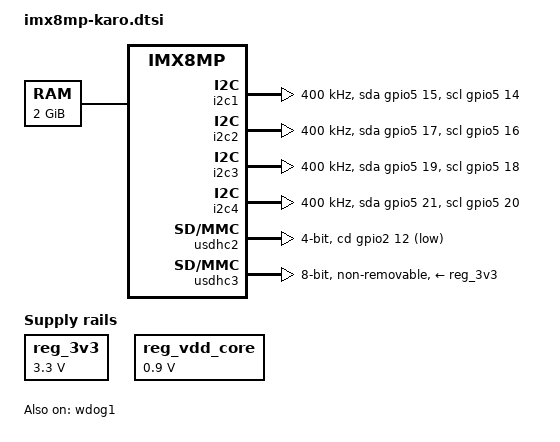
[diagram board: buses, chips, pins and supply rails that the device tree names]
// SPDX-License-Identifier: (GPL-2.0 OR MIT)
/*
 * Copyright (C) 2021 Lothar Waßmann <LW@KARO-electronics.de>
 *
 */

#include "imx8mp.dtsi"

/ {
	aliases {
		ethernet0 = &eqos;
		/delete-property/ ethernet1;
		i2c0 = &i2c1;
		i2c1 = &i2c2;
		i2c2 = &i2c3;
		mmc0 = &usdhc3;
		mmc1 = &usdhc2;
		/delete-property/ mmc2;
		usb-host = &usb_dwc3_1;
		usbotg = &usb_dwc3_0;
	};

	chosen {
		stdout-path = "serial0:115200n8";
	};

	memory@40000000 {
		device_type = "memory";
		reg = <0x0 0x40000000 0 0x40000000>,
		      <0x1 0x00000000 0 0x40000000>;
	};

	reg_3v3: regulator-3v3 {
		compatible = "regulator-fixed";
		regulator-name = "3v3";
		regulator-min-microvolt = <3300000>;
		regulator-max-microvolt = <3300000>;
		regulator-always-on;
	};

	reg_vdd_core: regulator-vdd-core {
		compatible = "regulator-fixed";
		regulator-name = "vdd-core";
		regulator-min-microvolt = <900000>;
		regulator-max-microvolt = <900000>;
		regulator-always-on;
	};
};

&i2c1 {
	pinctrl-names = "default", "gpio";
	pinctrl-0 = <&pinctrl_i2c1>;
	pinctrl-1 = <&pinctrl_i2c1_gpio>;
	scl-gpios = <&gpio5 14 GPIO_ACTIVE_HIGH>;
	sda-gpios = <&gpio5 15 GPIO_ACTIVE_HIGH>;
	clock-frequency = <400000>;
	status = "okay";
};

&i2c2 {
	pinctrl-names = "default", "gpio";
	pinctrl-0 = <&pinctrl_i2c2>;
	pinctrl-1 = <&pinctrl_i2c2_gpio>;
	scl-gpios = <&gpio5 16 GPIO_ACTIVE_HIGH>;
	sda-gpios = <&gpio5 17 GPIO_ACTIVE_HIGH>;
	clock-frequency = <400000>;
	status = "okay";
};

&i2c3 {
	pinctrl-names = "default", "gpio";
	pinctrl-0 = <&pinctrl_i2c3>;
	pinctrl-1 = <&pinctrl_i2c3_gpio>;
	scl-gpios = <&gpio5 18 GPIO_ACTIVE_HIGH>;
	sda-gpios = <&gpio5 19 GPIO_ACTIVE_HIGH>;
	clock-frequency = <400000>;
	status = "okay";
};

&i2c4 {
	pinctrl-names = "default", "gpio";
	pinctrl-0 = <&pinctrl_i2c4>;
	pinctrl-1 = <&pinctrl_i2c4_gpio>;
	scl-gpios = <&gpio5 20 GPIO_ACTIVE_HIGH>;
	sda-gpios = <&gpio5 21 GPIO_ACTIVE_HIGH>;
	clock-frequency = <400000>;
	status = "okay";
};

&usdhc2 {
	pinctrl-names = "default", "state_100mhz", "state_200mhz";
	pinctrl-0 = <&pinctrl_usdhc2 &pinctrl_usdhc2_cd>;
	pinctrl-1 = <&pinctrl_usdhc2_100mhz &pinctrl_usdhc2_cd>;
	pinctrl-2 = <&pinctrl_usdhc2_200mhz &pinctrl_usdhc2_cd>;
	bus-width = <4>;
	cd-gpios = <&gpio2 12 GPIO_ACTIVE_LOW>;
	no-1-8-v;
	fsl,wp-controller;
	status = "okay";
};

&usdhc3 { /* eMMC */
	pinctrl-names = "default";
	pinctrl-0 = <&pinctrl_usdhc3>;
	bus-width = <8>;
	vmmc-supply = <&reg_3v3>;
	non-removable;
	status = "okay";
};

&wdog1 {
	pinctrl-names = "default";
	pinctrl-0 = <&pinctrl_wdog>;
	fsl,ext-reset-output;
	status = "okay";
};

&iomuxc {
	pinctrl_i2c1: i2c1grp {
		fsl,pins = <
			MX8MP_IOMUXC_I2C1_SCL__I2C1_SCL			0x400001c2
			MX8MP_IOMUXC_I2C1_SDA__I2C1_SDA			0x400001c2
		>;
	};

	pinctrl_i2c1_gpio: i2c1-gpiogrp {
		fsl,pins = <
			MX8MP_IOMUXC_I2C1_SCL__GPIO5_IO14		0x400001c2
			MX8MP_IOMUXC_I2C1_SDA__GPIO5_IO15		0x400001c2
		>;
	};

	pinctrl_i2c2: i2c2grp {
		fsl,pins = <
			MX8MP_IOMUXC_I2C2_SCL__I2C2_SCL			0x400001c2
			MX8MP_IOMUXC_I2C2_SDA__I2C2_SDA			0x400001c2
		>;
	};

	pinctrl_i2c2_gpio: i2c2-gpiogrp {
		fsl,pins = <
			MX8MP_IOMUXC_I2C2_SCL__GPIO5_IO16		0x400001c2
			MX8MP_IOMUXC_I2C2_SDA__GPIO5_IO17		0x400001c2
		>;
	};

	pinctrl_i2c3: i2c3grp {
		fsl,pins = <
			MX8MP_IOMUXC_I2C3_SCL__I2C3_SCL			0x400001c2
			MX8MP_IOMUXC_I2C3_SDA__I2C3_SDA			0x400001c2
		>;
	};

	pinctrl_i2c3_gpio: i2c3-gpiogrp {
		fsl,pins = <
			MX8MP_IOMUXC_I2C3_SCL__GPIO5_IO18		0x400001c2
			MX8MP_IOMUXC_I2C3_SDA__GPIO5_IO19		0x400001c2
		>;
	};

	pinctrl_i2c4: i2c4grp {
		fsl,pins = <
			MX8MP_IOMUXC_I2C4_SCL__I2C4_SCL			0x400001c2
			MX8MP_IOMUXC_I2C4_SDA__I2C4_SDA			0x400001c2
		>;
	};

	pinctrl_i2c4_gpio: i2c4-gpiogrp {
		fsl,pins = <
			MX8MP_IOMUXC_I2C4_SCL__GPIO5_IO20		0x400001c2
			MX8MP_IOMUXC_I2C4_SDA__GPIO5_IO21		0x400001c2
		>;
	};

	pinctrl_pmic: pmicgrp {
		fsl,pins = <
			MX8MP_IOMUXC_GPIO1_IO03__GPIO1_IO03		0x1c0
		>;
	};

	pinctrl_usdhc2: usdhc2grp {
		fsl,pins = <
			MX8MP_IOMUXC_SD2_CLK__USDHC2_CLK		0x110
			MX8MP_IOMUXC_SD2_CMD__USDHC2_CMD		0x150
			MX8MP_IOMUXC_SD2_DATA0__USDHC2_DATA0		0x150
			MX8MP_IOMUXC_SD2_DATA1__USDHC2_DATA1		0x150
			MX8MP_IOMUXC_SD2_DATA2__USDHC2_DATA2		0x150
			MX8MP_IOMUXC_SD2_DATA3__USDHC2_DATA3		0x150
		>;
	};

	pinctrl_usdhc2_100mhz: usdhc2grp100mhz {
		fsl,pins = <
			MX8MP_IOMUXC_SD2_CLK__USDHC2_CLK		0x114
			MX8MP_IOMUXC_SD2_CMD__USDHC2_CMD		0x154
			MX8MP_IOMUXC_SD2_DATA0__USDHC2_DATA0		0x154
			MX8MP_IOMUXC_SD2_DATA1__USDHC2_DATA1		0x154
			MX8MP_IOMUXC_SD2_DATA2__USDHC2_DATA2		0x154
			MX8MP_IOMUXC_SD2_DATA3__USDHC2_DATA3		0x154
		>;
	};

	pinctrl_usdhc2_200mhz: usdhc2grp200mhz {
		fsl,pins = <
			MX8MP_IOMUXC_SD2_CLK__USDHC2_CLK		0x116
			MX8MP_IOMUXC_SD2_CMD__USDHC2_CMD		0x156
			MX8MP_IOMUXC_SD2_DATA0__USDHC2_DATA0		0x156
			MX8MP_IOMUXC_SD2_DATA1__USDHC2_DATA1		0x156
			MX8MP_IOMUXC_SD2_DATA2__USDHC2_DATA2		0x156
			MX8MP_IOMUXC_SD2_DATA3__USDHC2_DATA3		0x156
		>;
	};

	pinctrl_usdhc2_cd: usdhc2-cdgrp {
		fsl,pins = <
			MX8MP_IOMUXC_SD2_CD_B__GPIO2_IO12		0x1c0
		>;
	};

	pinctrl_usdhc3: usdhc3grp {
		fsl,pins = <
			MX8MP_IOMUXC_NAND_WE_B__USDHC3_CLK		0x110
			MX8MP_IOMUXC_NAND_WP_B__USDHC3_CMD		0x150
			MX8MP_IOMUXC_NAND_DATA04__USDHC3_DATA0		0x150
			MX8MP_IOMUXC_NAND_DATA05__USDHC3_DATA1		0x150
			MX8MP_IOMUXC_NAND_DATA06__USDHC3_DATA2		0x150
			MX8MP_IOMUXC_NAND_DATA07__USDHC3_DATA3		0x150
			MX8MP_IOMUXC_NAND_RE_B__USDHC3_DATA4		0x150
			MX8MP_IOMUXC_NAND_CE2_B__USDHC3_DATA5		0x150
			MX8MP_IOMUXC_NAND_CE3_B__USDHC3_DATA6		0x150
			MX8MP_IOMUXC_NAND_CLE__USDHC3_DATA7		0x150
			MX8MP_IOMUXC_NAND_CE1_B__USDHC3_STROBE		0x110
		>;
	};

	pinctrl_wdog: wdoggrp {
		fsl,pins = <
			MX8MP_IOMUXC_GPIO1_IO02__WDOG1_WDOG_B		0x140
		>;
	};
};
